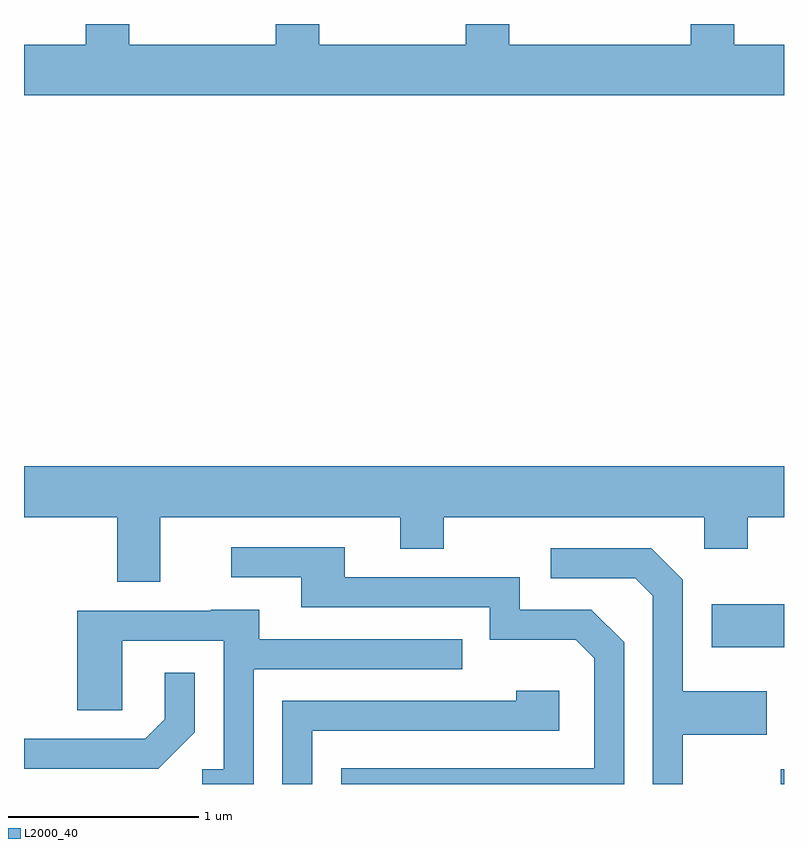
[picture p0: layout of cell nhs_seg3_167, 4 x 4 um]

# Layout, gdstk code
import gdstk
lib = gdstk.Library(unit=1e-6, precision=1e-09)
def R(c, l, rs):  # rectangles x0, y0, x1, y1
    for r in rs: c.add(gdstk.rectangle(r[:2], r[2:], *l))
def P(c, l, *ps):  # polygons
    for p in ps: c.add(gdstk.Polygon(p, *l))
L2000_40 = (2000, 40)

nhs_seg3_167 = lib.new_cell('nhs_seg3_167')
R(nhs_seg3_167, L2000_40, [(193.593,1177.892,193.611,1177.969), (193.231,1178.611,193.611,1178.839)])
P(nhs_seg3_167, L2000_40, [(193.611,1181.784),(193.349,1181.784),(193.349,1181.892),(193.121,1181.892),(193.121,1181.784),(192.164,1181.784),(192.164,1181.892),(191.936,1181.892),(191.936,1181.784),(191.164,1181.784),(191.164,1181.892),(190.936,1181.892),(190.936,1181.784),(190.164,1181.784),(190.164,1181.892),(189.936,1181.892),(189.936,1181.784),(189.611,1181.784),(189.611,1181.516),(193.611,1181.516)],
  [(190.329,1179.296),(191.591,1179.296),(191.591,1179.131),(191.819,1179.131),(191.819,1179.296),(193.191,1179.296),(193.191,1179.131),(193.419,1179.131),(193.419,1179.296),(193.611,1179.296),(193.611,1179.564),(189.611,1179.564),(189.611,1179.296),(190.101,1179.296),(190.101,1178.956),(190.329,1178.956)],
  [(192.769,1178.637),(192.597,1178.809),(192.219,1178.809),(192.219,1178.979),(191.299,1178.979),(191.299,1179.139),(190.703,1179.139),(190.703,1178.981),(191.071,1178.981),(191.071,1178.821),(192.061,1178.821),(192.061,1178.651),(192.514,1178.651),(192.611,1178.554),(192.611,1177.974),(191.281,1177.974),(191.281,1177.892),(192.769,1177.892)],
  [(193.079,1178.151),(193.519,1178.151),(193.519,1178.379),(193.079,1178.379),(193.079,1178.967),(192.912,1179.134),(192.383,1179.134),(192.383,1178.976),(192.829,1178.976),(192.921,1178.884),(192.921,1177.892),(193.079,1177.892)],
  [(190.819,1178.496),(191.918,1178.496),(191.918,1178.654),(190.849,1178.654),(190.849,1178.809),(190.595,1178.809),(190.595,1178.804),(189.891,1178.804),(189.891,1178.281),(190.129,1178.281),(190.129,1178.646),(190.661,1178.646),(190.661,1177.969),(190.548,1177.969),(190.548,1177.892),(190.819,1177.892)],
  [(190.509,1178.164),(190.509,1178.478),(190.351,1178.478),(190.351,1178.232),(190.249,1178.129),(189.611,1178.129),(189.611,1177.971),(190.317,1177.971)],
  [(191.129,1178.171),(192.429,1178.171),(192.429,1178.384),(192.201,1178.384),(192.201,1178.329),(190.971,1178.329),(190.971,1177.892),(191.129,1177.892)])

lib.write_gds('nhs_seg3_167.gds')
